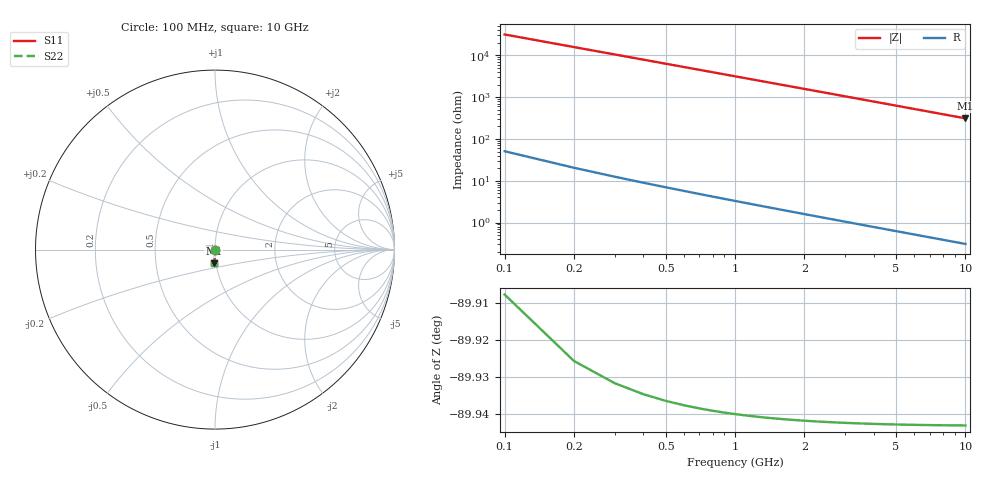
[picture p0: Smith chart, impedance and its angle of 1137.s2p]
# Hz S RI R 50.00
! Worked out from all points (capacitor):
!   100 points, 100 MHz to 10 GHz, reference 50 ohm
!   read as one part in shunt: C = 50.6 fF near 100 MHz
!   lowest |Z| = 310 ohm at 10 GHz (marker M1)
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1e8  6.98e-06 -0.000758  1 -0.00083  1 -0.00083  6.98e-06 -0.000758
2e8  4.37e-06 -0.00152  1 -0.00166  1 -0.00166  4.37e-06 -0.00152
3e8  4.9e-07 -0.00227  1 -0.00249  1 -0.00249  4.9e-07 -0.00227
4e8  -4.66e-06 -0.00303  1 -0.00332  1 -0.00332  -4.66e-06 -0.00303
5e8  -1.11e-05 -0.00379  1 -0.00415  1 -0.00415  -1.11e-05 -0.00379
6e8  -1.88e-05 -0.00455  1 -0.00498  1 -0.00498  -1.88e-05 -0.00455
7e8  -2.77e-05 -0.00531  1 -0.00581  1 -0.00581  -2.77e-05 -0.00531
8e8  -3.79e-05 -0.00607  0.9999 -0.00664  0.9999 -0.00664  -3.79e-05 -0.00607
9e8  -4.94e-05 -0.00683  0.9999 -0.00747  0.9999 -0.00747  -4.94e-05 -0.00683
1.1e9  -7.61e-05 -0.00835  0.9999 -0.00914  0.9999 -0.00914  -7.61e-05 -0.00835
1.4e9  -0.000126 -0.0106  0.9999 -0.0116  0.9999 -0.0116  -0.000126 -0.0106
1.8e9  -0.00021 -0.0137  0.9998 -0.015  0.9998 -0.015  -0.00021 -0.0137
2.1e9  -0.000286 -0.016  0.9997 -0.0175  0.9997 -0.0175  -0.000286 -0.016
2.5e9  -0.000406 -0.019  0.9996 -0.0208  0.9996 -0.0208  -0.000406 -0.019
2.9e9  -0.000546 -0.0221  0.9994 -0.0241  0.9994 -0.0241  -0.000546 -0.0221
3.4e9  -0.000751 -0.0259  0.9992 -0.0283  0.9992 -0.0283  -0.000751 -0.0259
4.2e9  -0.00115 -0.032  0.9988 -0.035  0.9988 -0.035  -0.00115 -0.032
5.1e9  -0.00169 -0.0389  0.9983 -0.0426  0.9983 -0.0426  -0.00169 -0.0389
5.9e9  -0.00226 -0.045  0.9977 -0.0493  0.9977 -0.0493  -0.00226 -0.045
6.7e9  -0.00292 -0.0511  0.9971 -0.056  0.9971 -0.056  -0.00292 -0.0511
8.4e9  -0.00459 -0.0641  0.9954 -0.0703  0.9954 -0.0703  -0.00459 -0.0641
1e10  -0.0065 -0.0763  0.9935 -0.0837  0.9935 -0.0837  -0.0065 -0.0763
